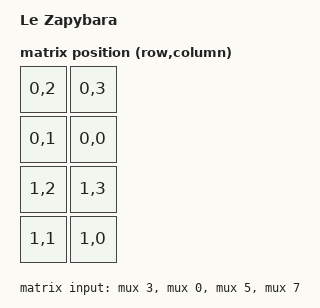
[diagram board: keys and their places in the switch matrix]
/*
 * Copyright (c) 2020 The ZMK Contributors
 *
 * SPDX-License-Identifier: MIT
 */

/dts-v1/;
#include <nordic/nrf52840_qiaa.dtsi>

#include <zephyr/dt-bindings/dt-util.h>
#include <zephyr/dt-bindings/adc/adc.h>
#include <zephyr/dt-bindings/gpio/nordic-nrf-gpio.h>

#include <dt-bindings/zmk/matrix_transform.h>
#include <physical_layouts.dtsi>

#include <freq.h>

&adc {
    status = "okay";

    #address-cells = <1>;
    #size-cells = <0>;

    channel@3 {
        reg = <3>;
        zephyr,gain = "ADC_GAIN_1_6";
        zephyr,reference = "ADC_REF_INTERNAL";
        zephyr,acquisition-time = <ADC_ACQ_TIME(ADC_ACQ_TIME_MICROSECONDS, 40)>;
        zephyr,resolution = <12>;
    };

    channel@1 {
        reg = <1>;
        zephyr,gain = "ADC_GAIN_1_6";
        zephyr,reference = "ADC_REF_INTERNAL";
        zephyr,acquisition-time = <ADC_ACQ_TIME(ADC_ACQ_TIME_MICROSECONDS, 3)>;
        zephyr,resolution = <12>;
    };
};

#define MUX(label)                      \
    label: label {                        \
    	compatible = "zmk,gpio-mux";            \
        gpio-controller;                        \
        #gpio-cells = <2>;                      \
    };


#define EC_MATRIX(_name)              \
    _name: _name {                                  \
        compatible = "zmk,kscan-ec-matrix";         \
        input-gpios                                 \
	        = <&left_mux 3 0>                   \
	        , <&left_mux 0 0>                   \
	        , <&left_mux 5 0>                   \
	        , <&left_mux 7 0>                   \
        ;                                           \
        io-channels = <&adc 1>;                     \
        matrix-relax-us = <3>;                      \
        matrix-warm-up-us = <500>;                  \
        adc-read-settle-us = <1>;                   \
        strobe-input-masks = <0 0>;  \
        sleep-after-secs = <10000>;                    \
        active-polling-interval-ms = <20>;           \
        idle-polling-interval-ms = <100>;             \
        sleep-polling-interval-ms = <4000>;            \
        dynamic-polling-interval;                   \
    };

/ {
    model = "Le Zapybara";
    compatible ="nordic,nrf52840";

    chosen {
        zmk,kscan = &matrix;
        zephyr,code-partition = &code_partition;
        zephyr,sram = &sram0;
        zephyr,flash = &flash0;
	    zerhyr,console = &cdc_acm_uart;
	    zerhyr,shell-uart = &cdc_acm_uart;
        zmk,battery = &vbatt;
	    zmk,physical-layout = &layout;
    };

    mux: mux {
		compatible = "zmk,gpio-mux";
		select-gpios
        = <&gpio1 13 GPIO_ACTIVE_HIGH>
        , <&gpio0 28  GPIO_ACTIVE_HIGH>
        , <&gpio0 3 GPIO_ACTIVE_HIGH>
        ;
        en-gpios = <&gpio1 9 GPIO_ACTIVE_LOW>;
		gpio-controller;
		ngpios = <4>;
	};

    matrix: matrix {
		compatible = "zmk,kscan-ec-matrix";

		matrix-relax-us = <800>;
		adc-read-settle-us = <1>;
		// trigger-percentage = <70>;
        io-channels = <&adc 1>;
        matrix-relax-us = <3>;
        matrix-warm-up-us = <500>;
        adc-read-settle-us = <1>;
        sleep-after-secs = <10000>;
        active-polling-interval-ms = <20>;
        idle-polling-interval-ms = <100>;
        sleep-polling-interval-ms = <4000>;
        dynamic-polling-interval;

		input-gpios
			= <&mux 3 0>
			, <&mux 0 0>
			, <&mux 5 0>
			, <&mux 7 0>
			;

		strobe-gpios
        = <&gpio1 11  (GPIO_ACTIVE_HIGH | NRF_GPIO_DRIVE_H0H1)>
        , <&gpio1 10 (GPIO_ACTIVE_HIGH | NRF_GPIO_DRIVE_H0H1)>
        ;

        drain-gpios = <&gpio0 30 (GPIO_ACTIVE_HIGH | NRF_GPIO_DRIVE_H0H1)>;
		matrix-warm-up-us = <500>;

		strobe-input-masks = <
			0
			0
            >;
	};

    vbatt: vbatt {
        compatible = "voltage-divider";
        io-channels = <&adc 3>;
        
        output-ohms = <2000000>;
        full-ohms = <(2000000 + 806000)>;
    };

    transform: transform {
        compatible = "zmk,matrix-transform";
        rows = <2>;
        columns = <4>;

        map = <
        RC(0,2) RC(0,3) RC(0,1) RC(0,0)
        RC(1,2) RC(1,3) RC(1,1) RC(1,0)    
        >;
    };


    layout: layout {
        compatible = "zmk,physical-layout";
	    display-name = "Standard";
	    transform = <&transform>;

	    keys  //                     w   h    x    y     rot    rx    ry
            = <&key_physical_attrs 100 100    0    0       0     0     0>
            , <&key_physical_attrs 100 100  100    0       0     0     0>
            , <&key_physical_attrs 100 100    0  100       0     0     0>
            , <&key_physical_attrs 100 100  100  100       0     0     0>
            , <&key_physical_attrs 100 100    0  200       0     0     0>
            , <&key_physical_attrs 100 100  100  200       0     0     0>
            , <&key_physical_attrs 100 100    0  300       0     0     0>
            , <&key_physical_attrs 100 100  100  300       0     0     0>
            ;
    };
};


&gpiote {
	status = "okay";
};

&gpio0 {
	status = "okay";
};

&gpio1 {
	status = "okay";
};


zephyr_udc0: &usbd {
	status = "okay";
        cdc_acm_uart: cdc_acm_uart {
                compatible = "zephyr,cdc-acm-uart";
        };
};

&flash0 {
	/*
	 * For more information, see:
	 * http://docs.zephyrproject.org/latest/devices/dts/flash_partitions.html
	 */
	partitions {
		compatible = "fixed-partitions";
		#address-cells = <1>;
		#size-cells = <1>;

		sd_partition: partition@0 {
			label = "mbr";
			reg = <0x00000000 0x00001000>;
		};
		code_partition: partition@1000 {
			label = "code_partition";
			reg = <0x00001000 0x000d3000>;
		};

		storage_partition: partition@d4000 {
			label = "storage";
			reg = <0x000d4000 0x00020000>;
		};

		boot_partition: partition@f4000 {
			label = "adafruit_boot";
			reg = <0x000f4000 0x0000c000>;
		};
	};
};
